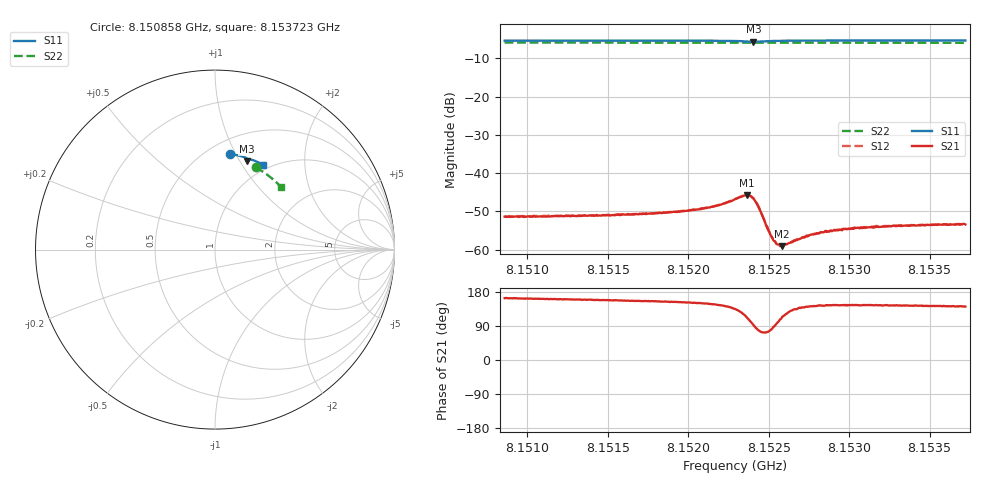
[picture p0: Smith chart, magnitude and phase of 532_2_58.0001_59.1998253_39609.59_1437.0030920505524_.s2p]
#  HZ  S  RI  R  50.00
! Rohde & Schwarz Vector Network Analyzer
! Rohde-Schwarz,ZNB20-2Port,1311601062101988,3.16
! Created: UTC 3/21/2024, 1:14:08 AM
! freq[Hz]  re:S11  im:S11  re:S21  im:S21  re:S12  im:S12  re:S22  im:S22
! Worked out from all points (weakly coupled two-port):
!   401 points, 8.150858 GHz to 8.153723 GHz, reference 50 ohm
!   highest |S21| = -45.79 dB at 8.152362 GHz (marker M1); lowest = -59.1 dB at 8.152584 GHz (marker M2)
!   lowest |S11| = -5.6 dB at 8.152405 GHz (marker M3), VSWR 3.19, Z = 39.7 + j53.6 ohm
!   |S11| at or under -10 dB: nowhere
!   |S22| runs from -5.9 to -5.8 dB; largest |S21 - S12| = 0.00012
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8.1508579e9  0.0812 0.533  -0.00257 0.00078  -0.0026 0.000826  0.2263 0.4575
8.1513377e9  0.1145 0.5277  -0.00257 0.001  -0.00259 0.00104  0.2532 0.4426
8.1518175e9  0.148 0.5198  -0.00272 0.00128  -0.00272 0.00135  0.2789 0.426
8.1520754e9  0.1667 0.5137  -0.00292 0.00167  -0.00294 0.00176  0.2924 0.4164
8.1521828e9  0.1752 0.51  -0.00312 0.00214  -0.0031 0.00219  0.2979 0.4121
8.1522902e9  0.1837 0.5028  -0.0032 0.00325  -0.00317 0.00328  0.3034 0.4079
8.1523618e9  0.1846 0.4934  -0.00204 0.00471  -0.00202 0.00474  0.3066 0.4047
8.1523833e9  0.1818 0.4911  -0.00115 0.00489  -0.00109 0.00494  0.3075 0.4039
8.1524048e9  0.1784 0.4909  -0.000207 0.00464  -0.000133 0.0047  0.3085 0.4031
8.1524406e9  0.1749 0.4951  0.000774 0.00336  0.00085 0.00342  0.3101 0.4021
8.1524979e9  0.1786 0.5021  0.00047 0.00173  0.000498 0.00173  0.3131 0.4001
8.1525194e9  0.1809 0.5033  0.000215 0.00145  0.000221 0.00144  0.3141 0.3992
8.152548e9  0.1842 0.5041  -0.000119 0.00118  -0.000111 0.0012  0.3156 0.3981
8.1525623e9  0.1858 0.5042  -0.000239 0.00114  -0.0003 0.00113  0.3163 0.3974
8.1525838e9  0.1879 0.5044  -0.000449 0.00102  -0.000436 0.00104  0.3175 0.3965
8.1526841e9  0.1969 0.5031  -0.000995 0.000933  -0.000988 0.000976  0.3226 0.3925
8.15277e9  0.2036 0.5012  -0.00124 0.000985  -0.00123 0.00102  0.3267 0.3891
8.1528417e9  0.209 0.4996  -0.00135 0.00102  -0.00139 0.00103  0.3301 0.3858
8.1529777e9  0.2184 0.496  -0.00152 0.00111  -0.00149 0.0011  0.3364 0.38
8.1531783e9  0.2318 0.4903  -0.00161 0.00116  -0.00161 0.00121  0.3457 0.3712
8.1532499e9  0.2364 0.4885  -0.00164 0.00119  -0.00164 0.0012  0.3489 0.3681
8.1537225e9  0.2662 0.4737  -0.00166 0.00134  -0.00167 0.00136  0.3694 0.3464
